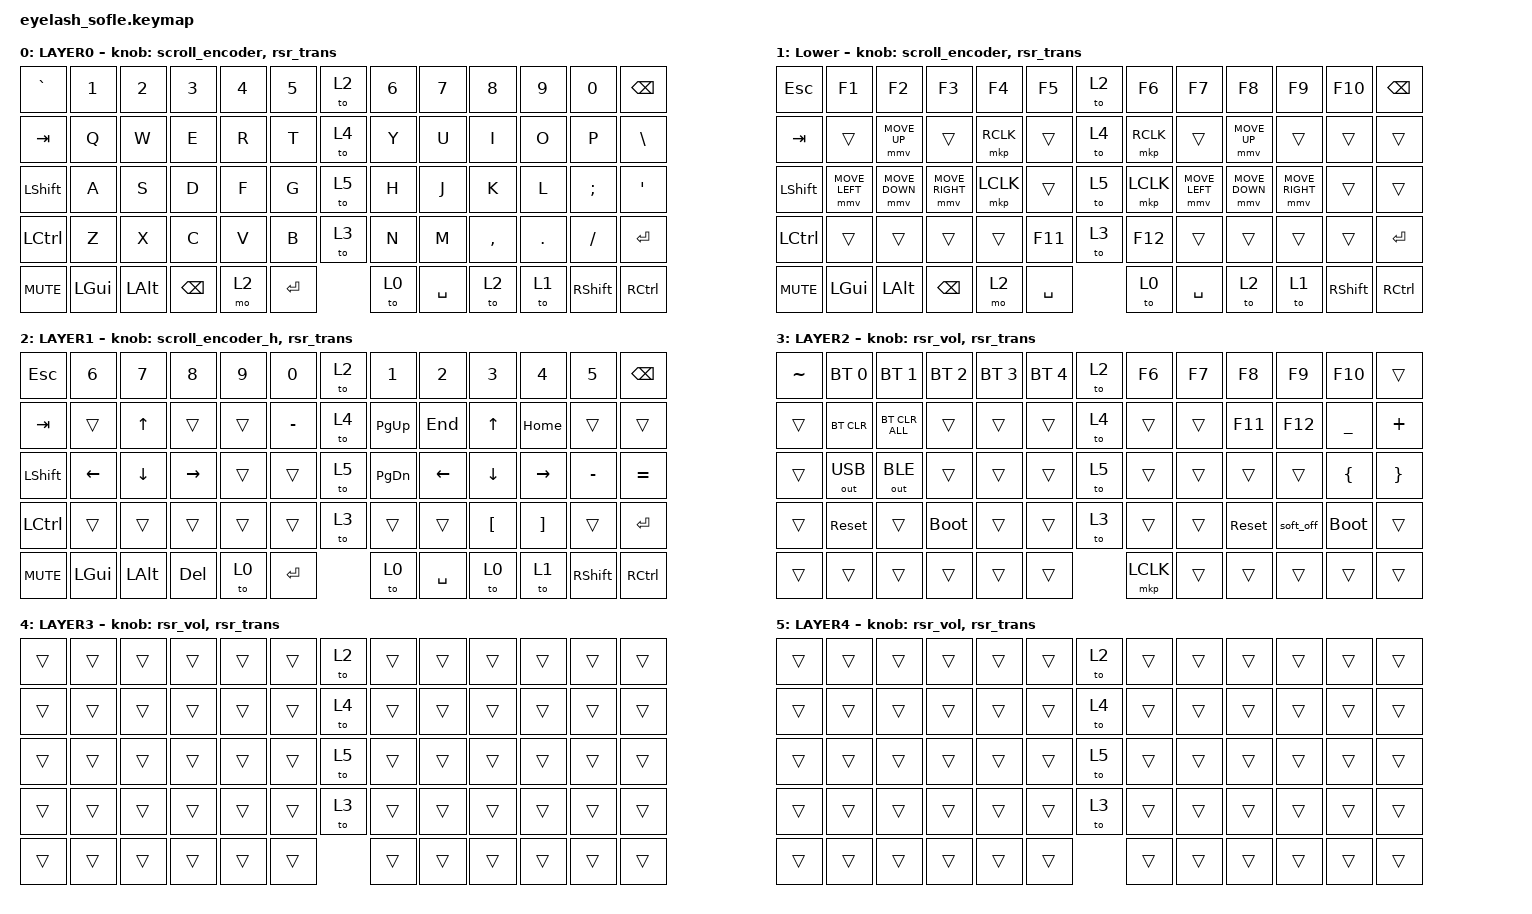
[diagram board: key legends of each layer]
#define ZMK_POINTING_DEFAULT_MOVE_VAL 1200  // 600
#define ZMK_POINTING_DEFAULT_SCRL_VAL 25   // 10

#include <input/processors.dtsi>
#include <zephyr/dt-bindings/input/input-event-codes.h>
#include <behaviors.dtsi>
#include <behaviors/runtime-sensor-rotate.dtsi>
#include <dt-bindings/zmk/bt.h>
#include <dt-bindings/zmk/keys.h>
#include <dt-bindings/zmk/outputs.h>
#include <dt-bindings/zmk/pointing.h>
#include <dt-bindings/zmk/rgb.h>

&mmv_input_listener { input-processors = <&zip_xy_scaler 2 1>; };

&msc_input_listener { input-processors = <&zip_scroll_scaler 6 1>; };

&msc {
    acceleration-exponent = <2>;      // 0
    time-to-max-speed-ms = <50>;       // 300
    delay-ms = <0>;                   // 0
    trigger-period-ms = <8>;
};

&mmv {
    time-to-max-speed-ms = <500>;
    acceleration-exponent = <1>;
    trigger-period-ms = <16>;
};

&soft_off { hold-time-ms = <2000>; };

/ {
    scroll_encoder: scroll_encoder {
        compatible = "zmk,behavior-sensor-rotate";
        #sensor-binding-cells = <0>;
        bindings = <&msc SCRL_DOWN>, <&msc SCRL_UP>;

        tap-ms = <80>;
    };

    scroll_encoder_h: scroll_encoder_h {
        compatible = "zmk,behavior-sensor-rotate";
        #sensor-binding-cells = <0>;
        bindings = <&msc SCRL_RIGHT>, <&msc SCRL_LEFT>;

        tap-ms = <80>;
};

    behaviors {
        rsr_vol: rsr_vol {
            compatible = "zmk,behavior-runtime-sensor-rotate";
            #sensor-binding-cells = <0>;
            tap-ms = <5>;
            cw-binding = <&kp C_VOL_UP>;
            ccw-binding = <&kp C_VOL_DN>;
        };

        rsr_trans: rsr_trans {
            compatible = "zmk,behavior-runtime-sensor-rotate";
            #sensor-binding-cells = <0>;
            tap-ms = <0>;
        };
    };

    combos {
        compatible = "zmk,combos";

        softoff {
            bindings = <&soft_off>;
            key-positions = <14 28 40>;
        };
    };

    macros {
        SHIFT_MCLK: SHIFT_MCLK {
            compatible = "zmk,behavior-macro";
            #binding-cells = <0>;
            bindings =
                <&macro_press>,
                <&kp LEFT_SHIFT>,
                <&macro_press>,
                <&mkp MB3>,
                <&macro_pause_for_release>,
                <&macro_release>,
                <&kp LEFT_SHIFT &mkp MB3>;

            label = "SHIFT_MCLK";
        };
    };

    keymap {
        compatible = "zmk,keymap";

        layer_0 {
            bindings = <
&kp GRAVE     &kp N1     &kp N2        &kp N3        &kp N4  &kp N5       &to 2     &kp N6     &kp N7     &kp N8     &kp N9           &kp N0      &kp BACKSPACE
&kp TAB     &kp Q      &kp W         &kp E         &kp R   &kp T        &to 4   &kp Y      &kp U      &kp I      &kp O            &kp P       &kp BSLH
&kp LSHFT    &kp A      &kp S         &kp D         &kp F   &kp G        &to 5   &kp H      &kp J      &kp K      &kp L            &kp SEMI    &kp APOS
&kp LCTRL   &kp Z      &kp X         &kp C         &kp V   &kp B        &to 3  &kp N      &kp M      &kp COMMA  &kp DOT          &kp FSLH    &kp ENTER
&kp C_MUTE  &kp LEFT_GUI  &kp LEFT_ALT  &kp BACKSPACE  &mo 2   &kp ENTER    &to 0        &kp SPACE  &to 2  &to 1      &kp RIGHT_SHIFT  &kp RCTRL
            >;

            sensor-bindings = <&scroll_encoder &rsr_trans>;
            display-name = "LAYER0";
        };

        layer0 {
            bindings = <
&kp ESC     &kp F1     &kp F2        &kp F3        &kp F4  &kp F5       &to 2     &kp F6     &kp F7     &kp F8     &kp F9           &kp F10      &kp BACKSPACE
&kp TAB     &trans      &mmv MOVE_UP         &trans         &mkp RCLK   &trans        &to 4   &mkp RCLK      &trans      &mmv MOVE_UP      &trans            &trans       &trans
&kp LSHFT    &mmv MOVE_LEFT      &mmv MOVE_DOWN         &mmv MOVE_RIGHT         &mkp LCLK   &trans        &to 5   &mkp LCLK      &mmv MOVE_LEFT      &mmv MOVE_DOWN      &mmv MOVE_RIGHT            &trans    &trans
&kp LCTRL   &trans      &trans         &trans         &trans   &kp F11        &to 3  &kp F12      &trans      &trans  &trans          &trans    &kp ENTER
&kp C_MUTE  &kp LEFT_GUI  &kp LEFT_ALT  &kp BACKSPACE  &mo 2   &kp SPACE    &to 0        &kp SPACE  &to 2  &to 1      &kp RIGHT_SHIFT  &kp RCTRL
            >;

            sensor-bindings = <&scroll_encoder &rsr_trans>;
            display-name = "Lower";
        };

        layer_1 {
            bindings = <
&kp ESC   &kp N6           &kp N7          &kp N8           &kp N9           &kp N0             &to 2     &kp N1           &kp N2           &kp N3      &kp N4     &kp N5           &kp BACKSPACE
&kp TAB      &trans        &kp UP       &trans        &trans        &kp MINUS           &to 4   &kp PG_UP        &kp END          &kp UP      &kp HOME   &trans         &trans
&kp LSHFT      &kp LEFT        &kp DOWN          &kp RIGHT           &trans           &trans           &to 5   &kp PG_DN        &kp LEFT         &kp DOWN    &kp RIGHT  &kp MINUS  &kp EQUAL
&kp LCTRL      &trans  &trans  &trans  &trans  &trans    &to 3  &trans  &trans  &kp LEFT_BRACKET  &kp RIGHT_BRACKET    &trans           &kp ENTER
&kp C_MUTE  &kp LEFT_GUI           &kp LEFT_ALT          &kp DEL           &to 0           &kp ENTER             &to 0        &kp SPACE           &to 0           &to 1      &kp RIGHT_SHIFT     &kp RCTRL
            >;

            sensor-bindings = <&scroll_encoder_h &rsr_trans>;
            display-name = "LAYER1";
        };

        layer_2 {
            bindings = <
&kp TILDE  &bt BT_SEL 0  &bt BT_SEL 1    &bt BT_SEL 2  &bt BT_SEL 3  &bt BT_SEL 4    &to 2     &kp F6  &kp F7  &kp F8      &kp F9     &kp F10      &trans
&trans     &bt BT_CLR    &bt BT_CLR_ALL  &trans        &trans        &trans          &to 4   &trans  &trans  &kp F11     &kp F12    &kp UNDER    &kp PLUS
&trans     &out OUT_USB  &out OUT_BLE    &trans        &trans        &trans          &to 5   &trans  &trans  &trans      &trans     &kp LBRC     &kp RBRC
&trans     &sys_reset    &trans          &bootloader   &trans        &trans          &to 3  &trans  &trans  &sys_reset  &soft_off  &bootloader  &trans
&trans     &trans        &trans          &trans        &trans        &trans          &mkp LCLK        &trans  &trans  &trans      &trans     &trans
            >;

            display-name = "LAYER2";
            sensor-bindings = <&rsr_vol &rsr_trans>;
        };

        layer_3 {
            bindings = <
&trans  &trans  &trans  &trans  &trans  &trans    &to 2  &trans  &trans  &trans  &trans  &trans  &trans
&trans  &trans  &trans  &trans  &trans  &trans    &to 4  &trans  &trans  &trans  &trans  &trans  &trans
&trans  &trans  &trans  &trans  &trans  &trans    &to 5  &trans  &trans  &trans  &trans  &trans  &trans
&trans  &trans  &trans  &trans  &trans  &trans    &to 3  &trans  &trans  &trans  &trans  &trans  &trans
&trans  &trans  &trans  &trans  &trans  &trans    &trans  &trans  &trans  &trans  &trans  &trans
            >;

            display-name = "LAYER3";
            sensor-bindings = <&rsr_vol &rsr_trans>;
        };

        layer_4 {
            bindings = <
&trans  &trans  &trans  &trans  &trans  &trans    &to 2  &trans  &trans  &trans  &trans  &trans  &trans
&trans  &trans  &trans  &trans  &trans  &trans    &to 4  &trans  &trans  &trans  &trans  &trans  &trans
&trans  &trans  &trans  &trans  &trans  &trans    &to 5  &trans  &trans  &trans  &trans  &trans  &trans
&trans  &trans  &trans  &trans  &trans  &trans    &to 3  &trans  &trans  &trans  &trans  &trans  &trans
&trans  &trans  &trans  &trans  &trans  &trans    &trans  &trans  &trans  &trans  &trans  &trans
            >;

            display-name = "LAYER4";
            sensor-bindings = <&rsr_vol &rsr_trans>;
        };
    };
};
